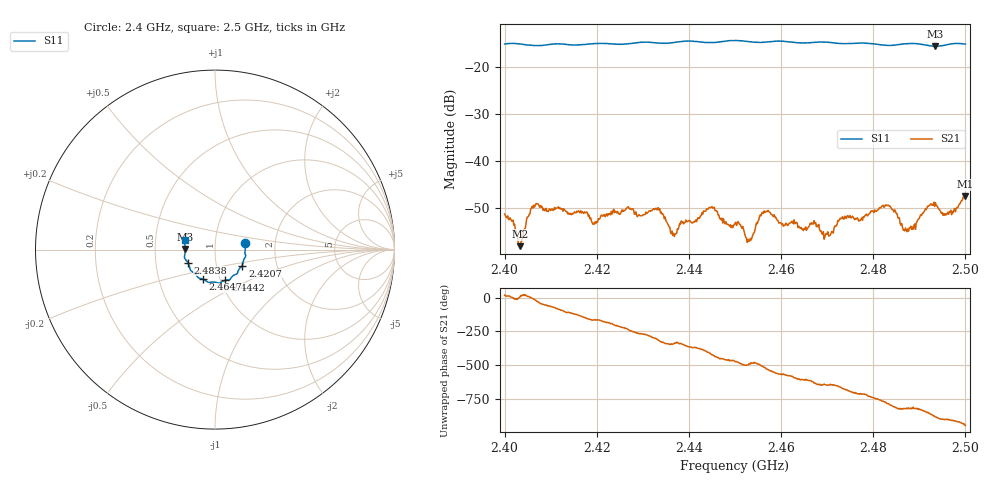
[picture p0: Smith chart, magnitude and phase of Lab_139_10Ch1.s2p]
# Hz S RI R 50
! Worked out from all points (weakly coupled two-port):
!   601 points, 2.4 GHz to 2.5 GHz, reference 50 ohm
!   highest |S21| = -47.53 dB at 2.5 GHz (marker M1); lowest = -58.1 dB at 2.4033 GHz (marker M2)
!   lowest |S11| = -15.7 dB at 2.4935 GHz (marker M3), VSWR 1.39, Z = 35.9 + j0.128 ohm
!   |S11| at or under -10 dB: start of sweep to end of sweep
!   S12 and S22 are empty: the file has one direction only
!   S11 on the Smith chart (normalised r, x): 2.4 GHz: 1.40, +0.11; 2.4207 GHz: 1.33, -0.25; 2.4442 GHz: 1.06, -0.37; 2.4647 GHz: 0.83, -0.28; 2.4838 GHz: 0.73, -0.11; 2.5 GHz: 0.71, +0.08
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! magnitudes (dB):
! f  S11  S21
! 2.4 GHz  -15.2  -51.3
! 2.4017 GHz  -15.1  -52.8
! 2.4033 GHz  -15.2  -58.1
! 2.4068 GHz  -15.5  -49.0
! 2.4167 GHz  -15.3  -51.0
! 2.4207 GHz  -15.1  -52.2
! 2.4333 GHz  -15.0  -49.9
! 2.4367 GHz  -14.9  -55.3
! 2.4442 GHz  -14.9  -50.2
! 2.45 GHz  -14.4  -53.2
! 2.4532 GHz  -14.7  -57.0
! 2.4568 GHz  -14.8  -50.7
! 2.4647 GHz  -15.0  -54.4
! 2.4667 GHz  -14.9  -53.1
! 2.4698 GHz  -14.8  -55.4
! 2.4728 GHz  -15.1  -52.1
! 2.4833 GHz  -15.5  -49.4
! 2.4838 GHz  -15.5  -49.9
! 2.4872 GHz  -15.1  -54.6
! 2.4935 GHz  -15.7  -48.8
! 2.4958 GHz  -15.4  -51.4
! 2.5 GHz  -15.2  -47.5
